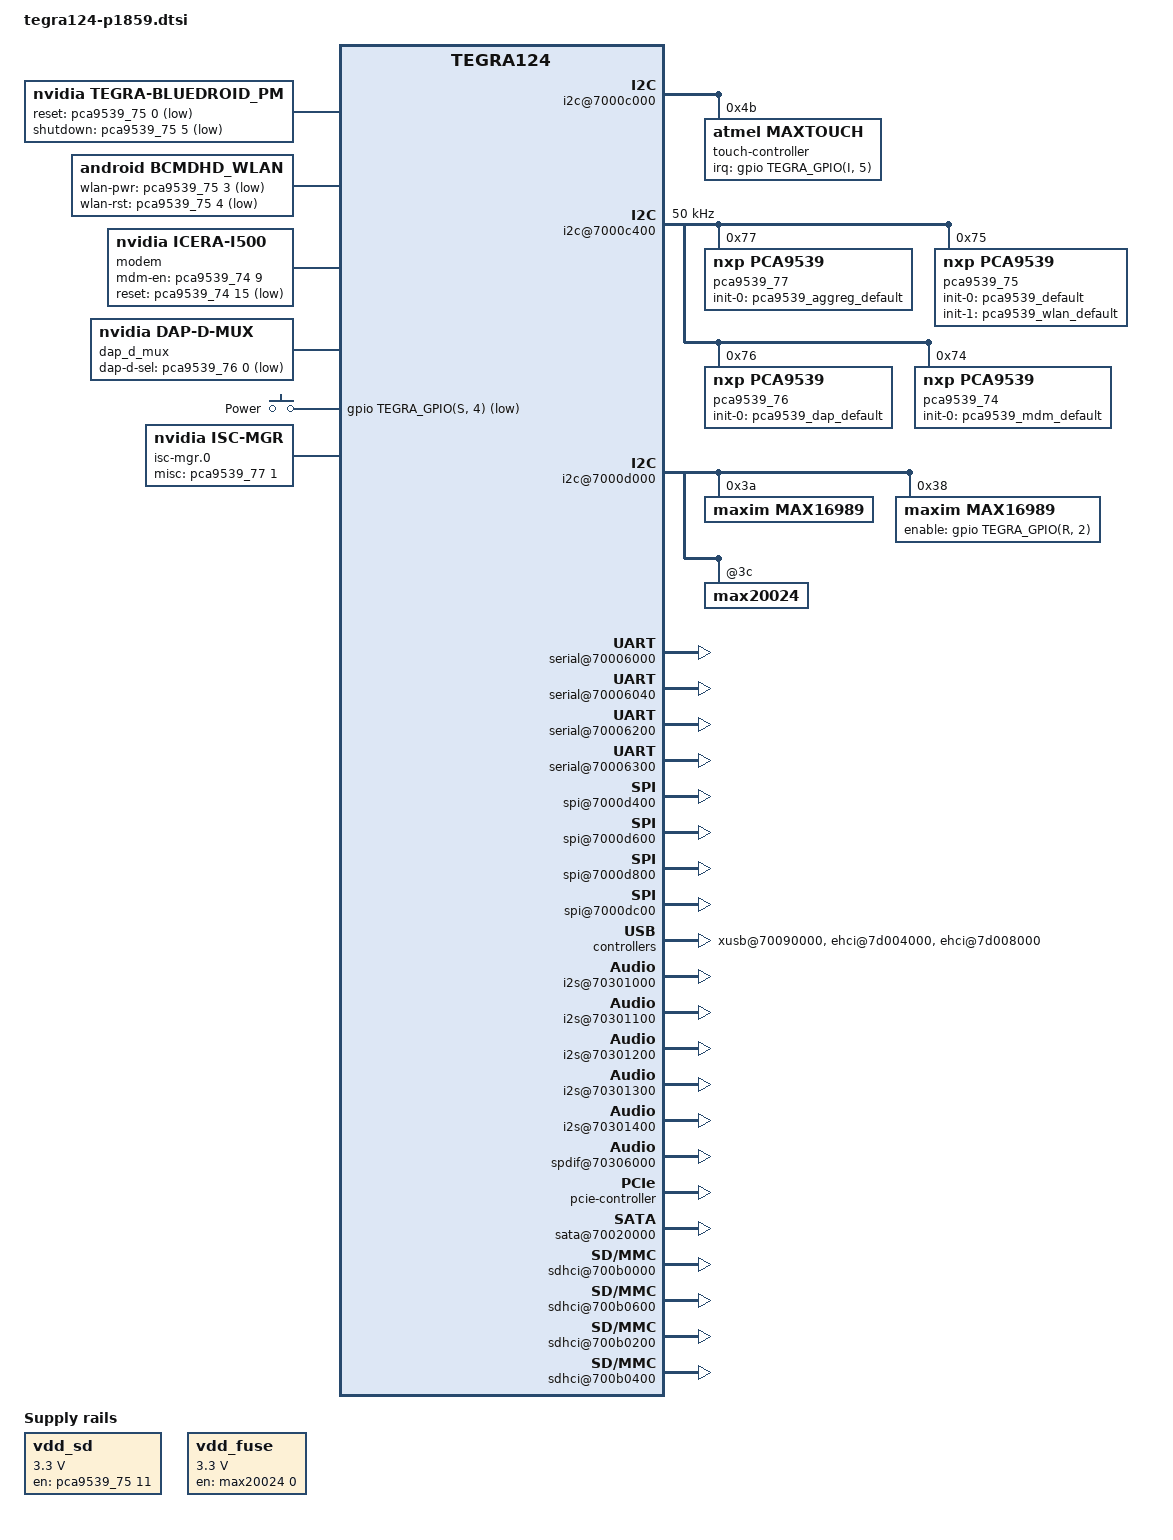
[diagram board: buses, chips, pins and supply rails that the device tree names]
/*
 * arch/arm/boot/dts/tegra124-p1859.dts
 *
 * Copyright (c) 2013-2016, NVIDIA CORPORATION.  All rights reserved.
 *
 * This program is free software; you can redistribute it and/or modify
 * it under the terms of the GNU General Public License as published by
 * the Free Software Foundation; version 2 of the License.
 *
 * This program is distributed in the hope that it will be useful, but WITHOUT
 * ANY WARRANTY; without even the implied warranty of MERCHANTABILITY or
 * FITNESS FOR A PARTICULAR PURPOSE.  See the GNU General Public License for
 * more details.
 *
 * You should have received a copy of the GNU General Public License along
 * with this program; if not, write to the Free Software Foundation, Inc.,
 * 51 Franklin Street, Fifth Floor, Boston, MA  02110-1301, USA.
 *
 */

/*
 * tegra124-p1859.dtsi is the board dtsi file representing the p1859
 * board. Since the same p1859 board is supported in multiple ways eg
 * ardbeg, virtual machines, p1859 linux etc, this file needs to be
 * included and then the required changes should be made in the
 * corresponding dts
 */
#include "tegra124-vcm30_t124.dtsi"
#include <panel-a-edp-1080p-14-0.dtsi>
#include <tegra124-platforms/tegra124-vcm30-t124-hdmi.dtsi>
#include <tegra124-platforms/tegra124-pmic-vcm30t124-max20024.dtsi>
#include <dt-bindings/pinctrl/pinctrl-tegra.h>

/ {
	#address-cells = <2>;
	#size-cells = <2>;

	host1x {
		sor {
			status = "okay";
			panel-a-edp-1080p-14-0 {
				status = "okay";
				disp-default-out {
					nvidia,out-max-pixclk = <3367>;
					nvidia,dither = <TEGRA_DC_ORDERED_DITHER>;
					nvidia,out-depth = <0>; /* let EDID set */
					nvidia,out-hotplug-state = <(-1)>;
				};
			};
		};

		dpaux {
			status = "okay";
		};

		/* tegradc.0 */
		dc@54200000 {
			nvidia,dc-flags = <TEGRA_DC_FLAG_ENABLED>;
			nvidia,emc-clk-rate = <204000000>;
			nvidia,fb-bpp = <32>; /* bits per pixel */
			nvidia,cmu-enable = <1>;
			status = "okay";
		};

		/* tegradc.1 */
		dc@54240000 {
			nvidia,emc-clk-rate = <300000000>;
			nvidia,fb-bpp = <32>; /* bits per pixel */
			status = "okay";
		};
	};

	i2c@7000c000 {
		touch-controller@4b {
			compatible = "atmel,maxtouch";
			reg = <0x4b>;
			interrupt-parent = <&gpio>;
			interrupts = <TEGRA_GPIO(I, 5) 0x0>;
			atmel,irq_flags = <IRQ_TYPE_LEVEL_LOW>;
			status = "okay";
		};
	};

	i2c@7000c400 {
		nvidia,clock-always-on;
		clock-frequency = <50000>;

		/* U17 of p1892 */
		pca9539_77: pca9546@77 {
			compatible = "nxp,pca9539";
			gpio-controller;
			#gpio-cells = <2>;
			reg = <0x77>;
			gpio-init-names = "aggreg_default";
			gpio-init-0 = <&pca9539_aggreg_default>;
			pca9539_aggreg_default: aggreg_default {
				gpio-output-low = <7 8>;
				gpio-output-high = <1>;
			};
		};

		/* U21 */
		pca9539_75: pca9546@75 {
			compatible = "nxp,pca9539";
			gpio-controller;
			#gpio-cells = <2>;
			reg = <0x75>;
			gpio-init-names = "default", "wlan-default";
			gpio-init-0 = <&pca9539_default>;
			gpio-init-1 = <&pca9539_wlan_default>;
			pca9539_default: default {
				gpio-output-low = <4>;
				gpio-output-high = <0 3 5 7 9 13 14 15>;
			};
			pca9539_wlan_default: wlan-default {
				/* WF_RST_3V3 */
				gpio-output-high = <4>;
			};
		};

		/* U67 */
		pca9539_76: pca9546@76 {
			compatible = "nxp,pca9539";
			gpio-controller;
			#gpio-cells = <2>;
			reg = <0x76>;
			gpio-init-names = "dap_default";
			gpio-init-0 = <&pca9539_dap_default>;
			pca9539_dap_default: dap_default {
				/* MUX_DAP_D_SEL, MUX_DAP_D_EN */
				gpio-output-low = <0 1>;
			};
		};

		/* U22 */
		pca9539_74: pca9546@74 {
			compatible = "nxp,pca9539";
			gpio-controller;
			#gpio-cells = <2>;
			reg = <0x74>;
			gpio-init-names = "mdm_default";
			gpio-init-0 = <&pca9539_mdm_default>;
			pca9539_mdm_default: mdm_default {
				/* MDM_EN, AP_MDM_RESET_3V3 */
				gpio-output-low = <9 15>;
				/* MDM_COLDBOOT */
				gpio-input = <11>;
			};
		};
	};

	i2c@7000d000 {
		status = "okay";
		nvidia,clock-always-on;

		max16989@3a {
			compatible = "maxim,max16989";
			reg = <0x3a>;
			regulator-name = "max16989-vdd-cpu";
			regulator-min-microvolt = <500000>;
			regulator-max-microvolt = <1500000>;
			consumers {
				c1 {
					regulator-consumer-supply = "vdd_cpu";
				};
			};
		};

		max16989@38 {
			compatible = "maxim,max16989";
			reg = <0x38>;
			regulator-name = "max16989-vdd-gpu";
			regulator-min-microvolt = <500000>;
			regulator-max-microvolt = <1500000>;
			maxim,enable-gpio = <&gpio TEGRA_GPIO(R, 2) 0>;
			regulator-enable-ramp-delay = <210>;
			consumers {
				c1 {
					regulator-consumer-supply = "vdd_gpu";
				};
			};
		};

		max20024@3c {
			regulators {
				ldo5 {
					status = "okay";
				};
			};
		};
	};

	regulators {
		compatible = "simple-bus";
		device_type = "fixed-regulators";
		#address-cells = <1>;
		#size-cells = <0>;

		vdd_sd: regulator@1 {
			compatible = "regulator-fixed-sync";
			regulator-name = "vddio_sd_slot-reg";
			regulator-min-microvolt = <3300000>;
			regulator-max-microvolt = <3300000>;
			gpio = <&pca9539_75 11 1>;
			enable-active-high;
		};

		vdd_fuse: regulator@2 {
			compatible = "regulator-fixed-sync";
			regulator-name = "vdd_fuse";
			regulator-min-microvolt = <3300000>;
			regulator-max-microvolt = <3300000>;
			gpio = <&max20024 0 0>;
			enable-active-high;
		};
	};

	/* Populate fuse supply */
	efuse@7000f800 {
		vpp_fuse-supply = <&vdd_fuse>;
	};

	serial@70006000 {
		status = "okay";
	};

	serial@70006040 {
		status = "okay";
	};

	serial@70006200 {
		compatible = "nvidia,tegra20-uart";
		console-port;
		status = "okay";
	};

	serial@70006300 {
		status = "okay";
	};

	spi@7000d400 {
		status = "okay";
		compatible = "nvidia,tegra124-spi-slave";
		nvidia,clk-pin = "gpio_x5_aud_px5";
		nvidia,rx-trigger-words = <0>;
		spi-max-frequency = <48000000>;
	};

	spi@7000d600 {
		status = "okay";
		nvidia,maximum-dma-buffer-size = <65536>;
	};

	spi@7000d800 {
		status = "okay";
		nvidia,maximum-dma-buffer-size = <65536>;
	};

	spi@7000dc00 {
		status = "okay";
		nvidia,maximum-dma-buffer-size = <65536>;
	};

	extcon {
		/* ID pin extcon */
		extcon@0 {
			status="okay";
		};

		/* VBUS extcon */
		extcon@1 {
			status="okay";
		};
	};

	otg@7d000000 {
		nvidia,id-detection-type = <1>;
		extcon-cables = <&vbus_gpio_extcon 0 &id_gpio_extcon 0>;
		extcon-cable-names = "vbus", "id";
		nvidia,enable-pmu-vbus-detection;
	};

	xusb@70090000 {
		status = "okay";
	};

	ahub {
		status = "okay";

		i2s@70301000 {
			status = "okay";
		};
		i2s@70301100 {
			status = "okay";
		};
		i2s@70301200 {
			fsync-width = <0>;
			status = "okay";
		};
		i2s@70301300 {
			status = "okay";
		};
		i2s@70301400 {
			status = "okay";
		};
		spdif@70306000 {
			status = "okay";
		};
		amx@70303000 {
			status = "okay";
		};
		adx@70303800 {
			status = "okay";
		};
		amx@70303100 {
			status = "okay";
		};
		adx@70303900 {
			status = "okay";
		};
		dam@70302000 {
			status = "okay";
		};
		dam@70302200 {
			status = "okay";
		};
		dam@70302400 {
			status = "okay";
		};
		afc@70307000 {
			status = "okay";
		};
		afc@70307100 {
			status = "okay";
		};
		afc@70307200 {
			status = "okay";
		};
		afc@70307300 {
			status = "okay";
		};
		afc@70307400 {
			status = "okay";
		};
		afc@70307500 {
			status = "okay";
		};
	};

	tegra-vcm30t124-alt {
		compatible = "nvidia,tegra-audio-vcm30t124";
		status = "okay";
	};

	pcie-controller {
		status = "okay";

		pci@1,0 {
			status = "okay";
		};

		pci@2,0 {
			status = "okay";
		};
	};

	sata@70020000 {
		status = "okay";
		nvidia,gen1-amp = /bits/8 <0x12>;
		nvidia,gen2-amp = /bits/8 <0x18>;
		nvidia,gen1-peak = /bits/8 <0x4>;
		nvidia,gen2-peak = /bits/8 <0xA>;
	};

	sdhci@700b0000 {
		nvidia,update-pinctrl-settings;
		pinctrl-names = "default_mode", "uhs_sdr50_mode", "uhs_sdr104_mode";
		pinctrl-0 = <&sdmmc1_hs_mode>;
		pinctrl-1 = <&sdmmc1_uhs_sdr50_mode>;
		pinctrl-2 = <&sdmmc1_uhs_sdr104_mode>;
		status = "okay";
	};

	sdhci@700b0600 {
		pwr-off-during-lp0 = <1>;
		status = "okay";
	};

	sdhci@700b0200 {
		pwr-off-during-lp0 = <1>;
		status = "okay";
	};

	sdhci@700b0400 {
		vddio_sd_slot-supply = <&vdd_sd>;
		vddio_sdmmc-supply = <&max20024_ldo5>;
		status = "okay";
	};

	snor {
		status = "okay";
	};

	ehci@7d000000 {
		nvidia,is-intf-utmi;
		status = "disabled";
	};

	ehci@7d004000 {
		nvidia,is-intf-utmi;
		status = "okay";
	};

	ehci@7d008000 {
		nvidia,is-intf-utmi;
		status = "okay";
	};

	bluedroid_pm {
		compatible = "nvidia,tegra-bluedroid_pm";
		id = <0>;
		bluedroid_pm,reset-gpio = <&pca9539_75 0 1>;
		bluedroid_pm,shutdown-gpio = <&pca9539_75 5 1>;
		status = "okay";
	};
	bcmdhd_wlan {
		compatible = "android,bcmdhd_wlan";
		wlan-pwr-gpio = <&pca9539_75 3 1>;
		wlan-rst-gpio = <&pca9539_75 4 1>;
		status = "okay";
	};
	modem {
		compatible = "nvidia,icera-i500";
		/* XHCI_UTMI phy type */
		nvidia,phy-type = <2>;
		nvidia,mdm-en-gpio = <&pca9539_74 9 GPIO_ACTIVE_HIGH>;
		nvidia,reset-gpio = <&pca9539_74 15 GPIO_ACTIVE_LOW>;
		status = "okay";
	};
	dap_d_mux {
		compatible = "nvidia,dap-d-mux";
		nvidia,dap-d-sel-gpio = <&pca9539_76 0 GPIO_ACTIVE_LOW>;
		status = "okay";
	};

	cpu_dfll_pmic_integration {
		pmic-i2c-address = <0x74>;
		pmic-i2c-voltage-register = <0x07>;
		i2c-fs-rate = <400000>;
		sel-conversion-slope = <1>;
	};

	gpio-keys {
		compatible = "gpio-keys";
		gpio_sys_12 {
			label = "Power";
			linux,code = <KEY_POWER>;
			gpios = <&gpio TEGRA_GPIO(S, 4) GPIO_ACTIVE_LOW>;
			gpio-key,wakeup;
		};
	};

	isc-mgr.0 {
		compatible = "nvidia,isc-mgr";
		i2c-bus = <0>;
		csi-port = <0>;
		misc-gpios = <&pca9539_77 1 GPIO_ACTIVE_HIGH>;	/* CSI1 switch */
		/* default-power-on; */
		status = "okay";
	};

	isc-mgr.1 {
		compatible = "nvidia,isc-mgr";
		i2c-bus = <0>;
		csi-port = <2>;
		/* default-power-on; */
		status = "okay";
	};

	pinmux@70000868 {
		sdmmc1_hs_mode: sdmmc1_hs_mode_drive {
			drive_sdio1 {
				nvidia,pins = "drive_sdio1";
				nvidia,high-speed-mode = <TEGRA_PIN_ENABLE>;
				nvidia,schmitt = <TEGRA_PIN_ENABLE>;
				nvidia,pull-down-strength = <32>;
				nvidia,pull-up-strength = <42>;
				nvidia,slew-rate-rising = <TEGRA_PIN_SLEW_RATE_SLOWEST>;
				nvidia,slew-rate-falling = <TEGRA_PIN_SLEW_RATE_SLOWEST>;
			};
		};

		sdmmc1_uhs_sdr50_mode: sdmmc1_uhs_sdr50_mode_drive {
			drive_sdio1 {
				nvidia,pins = "drive_sdio1";
				nvidia,high-speed-mode = <TEGRA_PIN_ENABLE>;
				nvidia,schmitt = <TEGRA_PIN_ENABLE>;
				nvidia,pull-down-strength = <40>;
				nvidia,pull-up-strength = <51>;
				nvidia,slew-rate-rising = <TEGRA_PIN_SLEW_RATE_SLOWEST>;
				nvidia,slew-rate-falling = <TEGRA_PIN_SLEW_RATE_SLOWEST>;
			};
		};

		sdmmc1_uhs_sdr104_mode: sdmmc1_uhs_sdr104_mode_drive {
			drive_sdio1 {
				nvidia,pins = "drive_sdio1";
				nvidia,high-speed-mode = <TEGRA_PIN_ENABLE>;
				nvidia,schmitt = <TEGRA_PIN_ENABLE>;
				nvidia,pull-down-strength = <40>;
				nvidia,pull-up-strength = <51>;
				nvidia,slew-rate-rising = <TEGRA_PIN_SLEW_RATE_SLOWEST>;
				nvidia,slew-rate-falling = <TEGRA_PIN_SLEW_RATE_SLOWEST>;
			};
		};
	};
};
